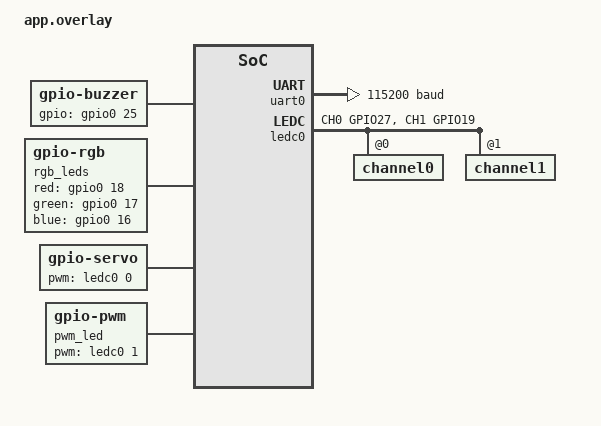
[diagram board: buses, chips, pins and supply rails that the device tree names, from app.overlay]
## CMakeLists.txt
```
cmake_minimum_required(VERSION 3.20.0)

find_package(Zephyr REQUIRED HINTS $ENV{ZEPHYR_BASE})
project(e2_buzzer)

target_sources(app PRIVATE
        src/main.c
        drivers/buzzers/buzzer.c
        drivers/rgb/rgb.c
        drivers/servo/servo.c
        drivers/pwm/pwm.c
)

target_include_directories(app PRIVATE
        drivers/buzzers
        drivers/rgb
        drivers/servo
        drivers/pwm
)
```

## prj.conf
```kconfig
CONFIG_GPIO=y
CONFIG_PWM=y

CONFIG_SERIAL=y
CONFIG_CONSOLE=y
CONFIG_UART_CONSOLE=y

# Surface driver errors (LEDC pinctrl/timer failures) on the console
CONFIG_LOG=y
CONFIG_LOG_DEFAULT_LEVEL=3
```

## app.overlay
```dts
#include <zephyr/dt-bindings/pwm/pwm.h>
#include <zephyr/dt-bindings/pinctrl/esp32-pinctrl.h>

/ {
  chosen {
    zephyr,console = &uart0;
  };

  buzzer {
    compatible = "gpio-buzzer";
    gpios = <&gpio0 25 GPIO_ACTIVE_HIGH>;
  };

  rgb_leds {
    compatible = "gpio-rgb";

    red-gpios = <&gpio0 18 GPIO_ACTIVE_HIGH>;
    green-gpios = <&gpio0 17 GPIO_ACTIVE_HIGH>;
    blue-gpios = <&gpio0 16 GPIO_ACTIVE_HIGH>;
  };

  servo {
    compatible = "gpio-servo";
    pwms = <&ledc0 0 PWM_MSEC(20) PWM_POLARITY_NORMAL>;
  };

  pwm_led: pwm_led {
    compatible = "gpio-pwm";
    pwms = <&ledc0 1 PWM_MSEC(20) PWM_POLARITY_NORMAL>;
  };
};


&pinctrl {
  ledc0_default: ledc0_default {
    servo_group {
      pinmux = <LEDC_CH0_GPIO27>;
      output-enable;
    };

    led_group {
      pinmux = <LEDC_CH1_GPIO19>;
      output-enable;
    };
  };
};

&uart0 {
  status = "okay";
  current-speed = <115200>;
};

&gpio0 {
  status = "okay";
};

&ledc0 {
  pinctrl-0 = <&ledc0_default>;
  pinctrl-names = "default";
  status = "okay";

  #address-cells = <1>;
  #size-cells = <0>;

  channel0@0 {
    reg = <0>;
    timer = <0>;
  };

  channel1@1 {
    reg = <1>;
    timer = <1>;
  };
};
```

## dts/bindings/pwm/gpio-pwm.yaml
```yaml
description: PWM controlled LED

compatible: "gpio-pwm"

include: base.yaml

properties:
  pwms:
    type: phandle-array
    required: true
    description: PWM controller connected to the LED
```

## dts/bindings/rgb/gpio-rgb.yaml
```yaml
description: Three GPIO controlled LEDs used as an RGB indicator

compatible: "gpio-rgb"

include: base.yaml

properties:
  red-gpios:
    type: phandle-array
    required: true
    description: GPIO connected to the red LED

  green-gpios:
    type: phandle-array
    required: true
    description: GPIO connected to the green LED

  blue-gpios:
    type: phandle-array
    required: true
    description: GPIO connected to the blue LED
```

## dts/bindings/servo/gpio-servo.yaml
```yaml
description: PWM controlled servo motor

compatible: "gpio-servo"

include: base.yaml

properties:
  pwms:
    type: phandle-array
    required: true
    description: PWM signal connected to the servo
```

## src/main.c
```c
#include <stdbool.h>
#include <stdint.h>
#include <stdio.h>
#include <stdlib.h>
#include <string.h>
#include <zephyr/device.h>
#include <zephyr/drivers/gpio.h>
#include <zephyr/drivers/uart.h>
#include <zephyr/kernel.h>

#include "buzzer.h"
#include "pwm.h"
#include "rgb.h"
#include "servo.h"
#include "zephyr/sys/printk.h"

#define UART_NODE DT_CHOSEN(zephyr_console)
static const struct device *uart = DEVICE_DT_GET(UART_NODE);

#define CMD_BUFFER_SIZE 64
static char cmd_buffer[CMD_BUFFER_SIZE];
static size_t cmd_pos = 0;

/* Servo sweep state: 0 -> 90 -> 0, one degree every 20 ms (as in temp.cpp) */
#define SERVO_UPDATE_MS 20
#define SERVO_MIN_ANGLE 0
#define SERVO_MAX_ANGLE 90

static int servo_angle = SERVO_MIN_ANGLE;
static int servo_direction = 1;
static int64_t last_servo_update;

/* Non-blocking buzzer state: turn off once the requested duration expires */
static bool buzzer_active;
static int64_t buzzer_start;
static int buzzer_duration_ms;

/* Parse a decimal integer that must consume the whole string */
static bool parse_number(const char *s, long *value) {
  char *end;

  if (*s == '\0') {
    return false;
  }

  *value = strtol(s, &end, 10);

  return *end == '\0';
}

/* Strip leading/trailing whitespace in place and return the result */
static char *trim(char *s) {
  size_t len;

  while (*s == ' ' || *s == '\t') {
    s++;
  }

  len = strlen(s);
  while (len > 0 && (s[len - 1] == ' ' || s[len - 1] == '\t' ||
                     s[len - 1] == '\r' || s[len - 1] == '\n')) {
    len--;
  }
  s[len] = '\0';

  return s;
}

/* #RRGGBB -> light the LED closest to that color */
static void handle_rgb(const char *cmd) {
  char *end;
  long color = strtol(cmd + 1, &end, 16);

  if (end == cmd + 1 || *end != '\0' || color < 0 || color > 0xFFFFFF) {
    printk("Invalid HEX color: %s\n", cmd);
    return;
  }

  rgb_set_hex((uint32_t)color);

  printk("HEX received: %s\n", cmd);
}

/* Y<0-255> -> set yellow LED brightness via PWM */
static void handle_yellow(const char *cmd) {
  long value;

  if (!parse_number(cmd + 1, &value) || value < 0 || value > 255) {
    printk("Invalid brightness (expected Y0-Y255): %s\n", cmd);
    return;
  }

  pwm_set_brightness((uint8_t)value);

  printk("Yellow LED brightness: %ld\n", value);
}

/* B<ms> -> buzz for the given duration without blocking the loop */
static void handle_buzzer(const char *cmd) {
  long duration;

  if (!parse_number(cmd + 1, &duration) || duration <= 0) {
    printk("Invalid duration (expected B>0): %s\n", cmd);
    return;
  }

  printk("Buzzing for %ld ms\n", duration);

  buzzer_on();
  buzzer_active = true;
  buzzer_start = k_uptime_get();
  buzzer_duration_ms = (int)duration;
}

static void process_command(const char *cmd) {
  printk("Command received: %s\n", cmd);

  if (cmd[0] == '#') {
    handle_rgb(cmd);
  } else if (cmd[0] == 'Y') {
    handle_yellow(cmd);
  } else if (cmd[0] == 'B') {
    handle_buzzer(cmd);
  } else {
    printk("Unknown command\n");
  }
}

/* Stop the buzzer once the requested duration has elapsed */
static void update_buzzer(void) {
  if (buzzer_active &&
      (k_uptime_get() - buzzer_start) >= buzzer_duration_ms) {
    buzzer_off();
    buzzer_active = false;
  }
}

/* Sweep the servo between 0 and 90 degrees, one step every 20 ms */
static void update_servo(void) {
  int64_t now = k_uptime_get();

  if (now - last_servo_update < SERVO_UPDATE_MS) {
    return;
  }
  last_servo_update = now;

  servo_angle += servo_direction;

  /* <= because two conditions can trigger on the same step */
  if (servo_angle >= SERVO_MAX_ANGLE) {
    servo_angle = SERVO_MAX_ANGLE;
    servo_direction = -1;
  }

  if (servo_angle <= SERVO_MIN_ANGLE) {
    servo_angle = SERVO_MIN_ANGLE;
    servo_direction = 1;
  }

  servo_set_angle(servo_angle);
}

/* Drain everything currently buffered in the UART, one command per line */
static void uart_receive(void) {
  uint8_t c;

  while (uart_poll_in(uart, &c) == 0) {
    if (c == '\r' || c == '\n') {
      if (cmd_pos > 0) {
        cmd_buffer[cmd_pos] = '\0';
        cmd_pos = 0;

        const char *cmd = trim(cmd_buffer);

        if (cmd[0] != '\0') {
          process_command(cmd);
        }
      }
    } else if (cmd_pos < CMD_BUFFER_SIZE - 1) {
      cmd_buffer[cmd_pos++] = (char)c;
    }
  }
}

int main(void) {
  if (!device_is_ready(uart)) {
    return 0;
  }

  if (buzzer_init() != 0) {
    printk("Buzzer init failed\n");
    return 0;
  }

  if (rgb_init() != 0) {
    printk("RGB init failed\n");
    return 0;
  }

  if (pwm_init() != 0) {
    printk("PWM init failed\n");
    return 0;
  }

  if (servo_init() != 0) {
    printk("Servo init failed\n");
    return 0;
  }

  /* Park the servo at 0 degrees, matching myServo.write(0) in setup() */
  servo_set_angle(SERVO_MIN_ANGLE);
  last_servo_update = k_uptime_get();

  printk("ESP32 command interface ready\n");

  while (1) {
    uart_receive();
    update_servo();
    update_buzzer();
    k_msleep(1);
  }

  return 0;
}
```
